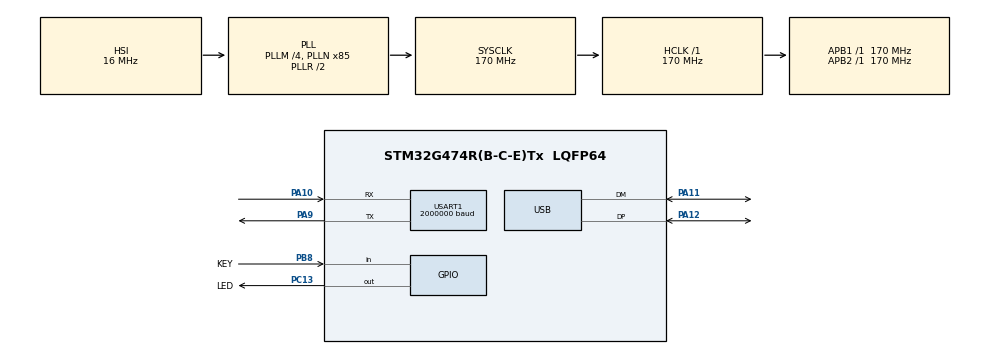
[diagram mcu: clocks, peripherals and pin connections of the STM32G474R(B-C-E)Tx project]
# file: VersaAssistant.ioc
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Dma.Request0=USART1_RX
Dma.Request1=USART1_TX
Dma.USART1_RX.0.Direction=DMA_PERIPH_TO_MEMORY
Dma.USART1_RX.0.EventEnable=DISABLE
Dma.USART1_RX.0.Instance=DMA1_Channel1
Dma.USART1_RX.0.MemDataAlignment=DMA_MDATAALIGN_BYTE
Dma.USART1_RX.0.MemInc=DMA_MINC_ENABLE
Dma.USART1_RX.0.Mode=DMA_NORMAL
Dma.USART1_RX.0.PeriphDataAlignment=DMA_PDATAALIGN_BYTE
Dma.USART1_RX.0.PeriphInc=DMA_PINC_DISABLE
Dma.USART1_RX.0.Polarity=HAL_DMAMUX_REQ_GEN_RISING
Dma.USART1_RX.0.Priority=DMA_PRIORITY_VERY_HIGH
Dma.USART1_RX.0.RequestNumber=1
Dma.USART1_RX.0.SignalID=NONE
Dma.USART1_RX.0.SyncEnable=DISABLE
Dma.USART1_RX.0.SyncPolarity=HAL_DMAMUX_SYNC_NO_EVENT
Dma.USART1_RX.0.SyncRequestNumber=1
Dma.USART1_RX.0.SyncSignalID=NONE
Dma.USART1_TX.1.Direction=DMA_MEMORY_TO_PERIPH
Dma.USART1_TX.1.EventEnable=DISABLE
Dma.USART1_TX.1.Instance=DMA1_Channel2
Dma.USART1_TX.1.MemDataAlignment=DMA_MDATAALIGN_BYTE
Dma.USART1_TX.1.MemInc=DMA_MINC_ENABLE
Dma.USART1_TX.1.Mode=DMA_NORMAL
Dma.USART1_TX.1.PeriphDataAlignment=DMA_PDATAALIGN_BYTE
Dma.USART1_TX.1.PeriphInc=DMA_PINC_DISABLE
Dma.USART1_TX.1.Polarity=HAL_DMAMUX_REQ_GEN_RISING
Dma.USART1_TX.1.Priority=DMA_PRIORITY_VERY_HIGH
Dma.USART1_TX.1.RequestNumber=1
Dma.USART1_TX.1.SignalID=NONE
Dma.USART1_TX.1.SyncEnable=DISABLE
Dma.USART1_TX.1.SyncPolarity=HAL_DMAMUX_SYNC_NO_EVENT
Dma.USART1_TX.1.SyncRequestNumber=1
Dma.USART1_TX.1.SyncSignalID=NONE
Mcu.Family=STM32G4
Mcu.Name=STM32G474R(B-C-E)Tx
Mcu.Package=LQFP64
NVIC.DMA1_Channel1_IRQn=true\:0\:0\:false\:false\:true\:false\:true\:true
NVIC.DMA1_Channel2_IRQn=true\:0\:0\:false\:false\:true\:false\:true\:true
NVIC.PriorityGroup=NVIC_PRIORITYGROUP_4
NVIC.USART1_IRQn=true\:0\:0\:false\:false\:true\:true\:true\:true
NVIC.USB_LP_IRQn=true\:0\:0\:false\:false\:true\:true\:true\:true
PA10.GPIO_PuPd=GPIO_PULLUP
PA10.GPIO_Speed=GPIO_SPEED_FREQ_VERY_HIGH
PA10.Mode=Asynchronous
PA10.Signal=USART1_RX
PA11.Mode=Device
PA11.Signal=USB_DM
PA12.Mode=Device
PA12.Signal=USB_DP
PA9.GPIO_PuPd=GPIO_PULLUP
PA9.GPIO_Speed=GPIO_SPEED_FREQ_VERY_HIGH
PA9.Mode=Asynchronous
PA9.Signal=USART1_TX
PB8-BOOT0.GPIO_Label=KEY
PB8-BOOT0.GPIO_PuPd=GPIO_PULLDOWN
PB8-BOOT0.Signal=GPIO_Input
PC13.GPIO_Label=LED
PC13.GPIO_PuPd=GPIO_PULLUP
PC13.Signal=GPIO_Output
PF0-OSC_IN.Mode=HSE-External-Oscillator
PF0-OSC_IN.Signal=RCC_OSC_IN
PF1-OSC_OUT.Mode=HSE-External-Oscillator
PF1-OSC_OUT.Signal=RCC_OSC_OUT
ProjectManager.HeapSize=0x200
ProjectManager.StackSize=0x400
ProjectManager.TargetToolchain=MDK-ARM V5.32
RCC.ADC12Freq_Value=170000000
RCC.ADC345Freq_Value=170000000
RCC.AHBFreq_Value=170000000
RCC.APB1Freq_Value=170000000
RCC.APB1TimFreq_Value=170000000
RCC.APB2Freq_Value=170000000
RCC.APB2TimFreq_Value=170000000
RCC.CK48CLockSelection=RCC_USBCLKSOURCE_HSI48
RCC.CortexFreq_Value=170000000
RCC.EXTERNAL_CLOCK_VALUE=12288000
RCC.HCLKFreq_Value=170000000
RCC.HSE_VALUE=12000000
RCC.HSI48_VALUE=48000000
RCC.HSI_VALUE=16000000
RCC.LSE_VALUE=32768
RCC.PLLM=RCC_PLLM_DIV4
RCC.PLLN=85
RCC.PLLQ=RCC_PLLQ_DIV8
RCC.SYSCLKFreq_VALUE=170000000
RCC.SYSCLKSource=RCC_SYSCLKSOURCE_PLLCLK
RCC.USBFreq_Value=48000000
RCC.VCOOutputFreq_Value=340000000
USART1.BaudRate=2000000
USART1.VirtualMode-Asynchronous=VM_ASYNC
VP_SYS_VS_DBSignals.Mode=DisableDeadBatterySignals
board=custom

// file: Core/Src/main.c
/* USER CODE BEGIN Header */
/**
 ******************************************************************************
 * @file           : main.c
 * @brief          : Main program body
 ******************************************************************************
 * @attention
 *
 * Copyright (c) 2024 STMicroelectronics.
 * All rights reserved.
 *
 * This software is licensed under terms that can be found in the LICENSE file
 * in the root directory of this software component.
 * If no LICENSE file comes with this software, it is provided AS-IS.
 *
 ******************************************************************************
 */
/* USER CODE END Header */
#include "main.h"

/* USER CODE BEGIN Includes */
#include "bsp_key.h"
#include "bsp_protocol.h"
#include "bsp_systick.h"
#include "bsp_versaassistant.h"
#include <stdint.h>

/* USER CODE END Includes */

UART_HandleTypeDef huart1;
DMA_HandleTypeDef hdma_usart1_rx;
DMA_HandleTypeDef hdma_usart1_tx;

PCD_HandleTypeDef hpcd_USB_FS;

void SystemClock_Config(void);
static void MX_GPIO_Init(void);
static void MX_DMA_Init(void);
static void MX_USART1_UART_Init(void);
static void MX_USB_PCD_Init(void);

/* USER CODE BEGIN 0 */
// void usb_dc_low_level_init(void)
//{
//     /* Peripheral clock enable */
//     __HAL_RCC_USB_CLK_ENABLE();
//     /* USB interrupt Init */
////    HAL_NVIC_SetPriority(USB_LP_CAN1_RX0_IRQn, 0, 0);
////    HAL_NVIC_EnableIRQ(USB_LP_CAN1_RX0_IRQn);

//}

extern protocol_struct pTxProtocol;
extern protocol_struct pRxProtocol;
extern mx_key_task_info key_t[MAX_KEY_NUM];
/* USER CODE END 0 */

int main(void)
{

  /* MCU Configuration--------------------------------------------------------*/

  /* Reset of all peripherals, Initializes the Flash interface and the Systick. */
  HAL_Init();

  /* Configure the system clock */
  SystemClock_Config();

  /* Initialize all configured peripherals */
  MX_GPIO_Init();
  MX_DMA_Init();
  MX_USART1_UART_Init();
  MX_USB_PCD_Init();
  /* USER CODE BEGIN 2 */

  bsp_versa_init();
  extern void usb_config_init(uint8_t busid, uint32_t reg_base);
  usb_config_init(0, USB_BASE);
  /* USER CODE END 2 */

  /* Infinite loop */
  while (1) {

    /* USER CODE BEGIN 3 */
    static uint32_t expression = 0;
    switch (expression) {
    case 0: // LED Blink
    {
      static uint64_t led_blink_time = 0;
      if (bsp_systick_get_ms_since(led_blink_time) >= 500) {

        HAL_GPIO_TogglePin(LED_GPIO_Port, LED_Pin);
        led_blink_time = bsp_systick_get_tick_ms();
      }
    } break;
    case 100: // Key Scan
    {
      static uint64_t key_tick_time = 0;
      if (bsp_systick_get_ms_since(key_tick_time) >= 2) {
        key_enc_scanf();
        key_tick_time = bsp_systick_get_tick_ms();
      }
    } break;
    case 200: // VersaAssistant Test
    {
      static uint64_t versa_tick_time = 0;
      static uint32_t versa_count = 0;
      float pData[12];
      if (bsp_systick_get_ms_since(versa_tick_time) >= 2) {
        versa_tick_time = bsp_systick_get_tick_ms();
        versa_count++;

        pData[0] = versa_count % 1000;
        pData[1] = (versa_count / 1000) % 1000;
        pData[2] = (versa_count / 1000 * 1000) % 1000;
        pData[3] = (versa_count / 1000 * 1000 * 1000) % 1000;

        pTxProtocol.frame.frame_user.header.cmd = 0x01;
        pTxProtocol.frame.frame_user.header.data_id = 0x0aa;
        pTxProtocol.frame.frame_user.header.device_id = 0xfe00ee;
        pTxProtocol.frame.frame_user.header.device_type = 0x0ff;
        memcpy((char *)(pTxProtocol.frame.frame_user.data.pData), (char *)pData,
               6 * 4);
        pTxProtocol.frame.frame_user.data.data_len = 12;
        make_protocol(&pTxProtocol);
        bsp_versa_transmit(pTxProtocol.message.pData,
                           pTxProtocol.message.data_len);
      }
    } break;
    }
    expression++;
    if (expression > 300) {
      expression = 0;
    }
     bsp_versa_type_transmit = key_t[0].key_info.click_state_num;
  }

  /* USER CODE END 3 */
}

void SystemClock_Config(void)
{
  RCC_OscInitTypeDef RCC_OscInitStruct = {0};
  RCC_ClkInitTypeDef RCC_ClkInitStruct = {0};

  /** Configure the main internal regulator output voltage
  */
  HAL_PWREx_ControlVoltageScaling(PWR_REGULATOR_VOLTAGE_SCALE1_BOOST);

  /** Initializes the RCC Oscillators according to the specified parameters
  * in the RCC_OscInitTypeDef structure.
  */
  RCC_OscInitStruct.OscillatorType = RCC_OSCILLATORTYPE_HSI|RCC_OSCILLATORTYPE_HSI48;
  RCC_OscInitStruct.HSIState = RCC_HSI_ON;
  RCC_OscInitStruct.HSICalibrationValue = RCC_HSICALIBRATION_DEFAULT;
  RCC_OscInitStruct.HSI48State = RCC_HSI48_ON;
  RCC_OscInitStruct.PLL.PLLState = RCC_PLL_ON;
  RCC_OscInitStruct.PLL.PLLSource = RCC_PLLSOURCE_HSI;
  RCC_OscInitStruct.PLL.PLLM = RCC_PLLM_DIV4;
  RCC_OscInitStruct.PLL.PLLN = 85;
  RCC_OscInitStruct.PLL.PLLP = RCC_PLLP_DIV2;
  RCC_OscInitStruct.PLL.PLLQ = RCC_PLLQ_DIV8;
  RCC_OscInitStruct.PLL.PLLR = RCC_PLLR_DIV2;
  if (HAL_RCC_OscConfig(&RCC_OscInitStruct) != HAL_OK)
  {
    Error_Handler();
  }

  /** Initializes the CPU, AHB and APB buses clocks
  */
  RCC_ClkInitStruct.ClockType = RCC_CLOCKTYPE_HCLK|RCC_CLOCKTYPE_SYSCLK
                              |RCC_CLOCKTYPE_PCLK1|RCC_CLOCKTYPE_PCLK2;
  RCC_ClkInitStruct.SYSCLKSource = RCC_SYSCLKSOURCE_PLLCLK;
  RCC_ClkInitStruct.AHBCLKDivider = RCC_SYSCLK_DIV1;
  RCC_ClkInitStruct.APB1CLKDivider = RCC_HCLK_DIV1;
  RCC_ClkInitStruct.APB2CLKDivider = RCC_HCLK_DIV1;

  if (HAL_RCC_ClockConfig(&RCC_ClkInitStruct, FLASH_LATENCY_4) != HAL_OK)
  {
    Error_Handler();
  }
}

static void MX_USART1_UART_Init(void)
{

  huart1.Instance = USART1;
  huart1.Init.BaudRate = 2000000;
  huart1.Init.WordLength = UART_WORDLENGTH_8B;
  huart1.Init.StopBits = UART_STOPBITS_1;
  huart1.Init.Parity = UART_PARITY_NONE;
  huart1.Init.Mode = UART_MODE_TX_RX;
  huart1.Init.HwFlowCtl = UART_HWCONTROL_NONE;
  huart1.Init.OverSampling = UART_OVERSAMPLING_16;
  huart1.Init.OneBitSampling = UART_ONE_BIT_SAMPLE_DISABLE;
  huart1.Init.ClockPrescaler = UART_PRESCALER_DIV1;
  huart1.AdvancedInit.AdvFeatureInit = UART_ADVFEATURE_NO_INIT;
  if (HAL_UART_Init(&huart1) != HAL_OK)
  {
    Error_Handler();
  }
  if (HAL_UARTEx_SetTxFifoThreshold(&huart1, UART_TXFIFO_THRESHOLD_1_8) != HAL_OK)
  {
    Error_Handler();
  }
  if (HAL_UARTEx_SetRxFifoThreshold(&huart1, UART_RXFIFO_THRESHOLD_1_8) != HAL_OK)
  {
    Error_Handler();
  }
  if (HAL_UARTEx_DisableFifoMode(&huart1) != HAL_OK)
  {
    Error_Handler();
  }

}

static void MX_USB_PCD_Init(void)
{

  hpcd_USB_FS.Instance = USB;
  hpcd_USB_FS.Init.dev_endpoints = 8;
  hpcd_USB_FS.Init.speed = PCD_SPEED_FULL;
  hpcd_USB_FS.Init.phy_itface = PCD_PHY_EMBEDDED;
  hpcd_USB_FS.Init.Sof_enable = DISABLE;
  hpcd_USB_FS.Init.low_power_enable = DISABLE;
  hpcd_USB_FS.Init.lpm_enable = DISABLE;
  hpcd_USB_FS.Init.battery_charging_enable = DISABLE;
  if (HAL_PCD_Init(&hpcd_USB_FS) != HAL_OK)
  {
    Error_Handler();
  }

}

static void MX_DMA_Init(void)
{

  /* DMA controller clock enable */
  __HAL_RCC_DMAMUX1_CLK_ENABLE();
  __HAL_RCC_DMA1_CLK_ENABLE();

  /* DMA interrupt init */
  /* DMA1_Channel1_IRQn interrupt configuration */
  HAL_NVIC_SetPriority(DMA1_Channel1_IRQn, 0, 0);
  HAL_NVIC_EnableIRQ(DMA1_Channel1_IRQn);
  /* DMA1_Channel2_IRQn interrupt configuration */
  HAL_NVIC_SetPriority(DMA1_Channel2_IRQn, 0, 0);
  HAL_NVIC_EnableIRQ(DMA1_Channel2_IRQn);

}

static void MX_GPIO_Init(void)
{
  GPIO_InitTypeDef GPIO_InitStruct = {0};

  /* GPIO Ports Clock Enable */
  __HAL_RCC_GPIOC_CLK_ENABLE();
  __HAL_RCC_GPIOF_CLK_ENABLE();
  __HAL_RCC_GPIOA_CLK_ENABLE();
  __HAL_RCC_GPIOB_CLK_ENABLE();

  /*Configure GPIO pin Output Level */
  HAL_GPIO_WritePin(LED_GPIO_Port, LED_Pin, GPIO_PIN_RESET);

  /*Configure GPIO pin : LED_Pin */
  GPIO_InitStruct.Pin = LED_Pin;
  GPIO_InitStruct.Mode = GPIO_MODE_OUTPUT_PP;
  GPIO_InitStruct.Pull = GPIO_PULLUP;
  GPIO_InitStruct.Speed = GPIO_SPEED_FREQ_LOW;
  HAL_GPIO_Init(LED_GPIO_Port, &GPIO_InitStruct);

  /*Configure GPIO pin : KEY_Pin */
  GPIO_InitStruct.Pin = KEY_Pin;
  GPIO_InitStruct.Mode = GPIO_MODE_INPUT;
  GPIO_InitStruct.Pull = GPIO_PULLDOWN;
  HAL_GPIO_Init(KEY_GPIO_Port, &GPIO_InitStruct);

}

/* USER CODE BEGIN 4 */
//--------------------------------------------------------------------+
// IRQ Handler
//--------------------------------------------------------------------+
// void USB_LP_IRQHandler(void) {
//    extern void USBD_IRQHandler(uint8_t busid);
//    USBD_IRQHandler(0);
//}

/* USER CODE END 4 */

void Error_Handler(void)
{
  __disable_irq();
  while (1) {
  }
}

#ifdef  USE_FULL_ASSERT
/**
  * @brief  Reports the name of the source file and the source line number
  *         where the assert_param error has occurred.
  * @param  file: pointer to the source file name
  * @param  line: assert_param error line source number
  * @retval None
  */
void assert_failed(uint8_t *file, uint32_t line)
{
  /* USER CODE BEGIN 6 */
  /* User can add his own implementation to report the file name and line
     number, ex: printf("Wrong parameters value: file %s on line %d\r\n", file,
     line) */
  /* USER CODE END 6 */
}
#endif /* USE_FULL_ASSERT */
